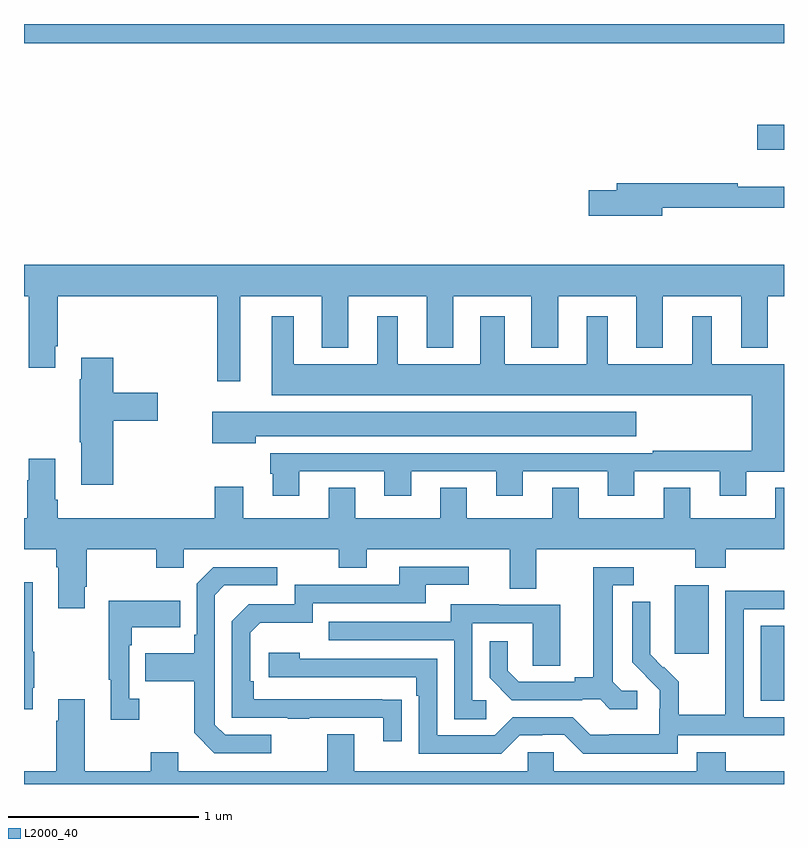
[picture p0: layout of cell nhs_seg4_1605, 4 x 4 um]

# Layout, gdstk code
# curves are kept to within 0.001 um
import gdstk
lib = gdstk.Library(unit=1e-6, precision=1e-09)
def R(c, l, rs):  # rectangles x0, y0, x1, y1
    for r in rs: c.add(gdstk.rectangle(r[:2], r[2:], *l))
def P(c, l, *ps):  # polygons
    for p in ps: c.add(gdstk.Polygon(p, *l))
L2000_40 = (2000, 40)

nhs_seg4_1605 = lib.new_cell('nhs_seg4_1605')
R(nhs_seg4_1605, L2000_40, [(196.877,813.337,197,813.734), (196.424,813.585,196.603,813.946), (196.86,816.239,197,816.369), (193,816.8,197,816.9)])
P(nhs_seg4_1605, L2000_40, [(196.36,815.934),(197,815.934),(197,816.044),(196.757,816.044),(196.757,816.062),(196.121,816.062),(196.121,816.026),(195.972,816.026),(195.972,815.891),(196.36,815.891)],
  [(194.137,815.468),(194.567,815.468),(194.567,815.195),(194.707,815.195),(194.707,815.468),(195.119,815.468),(195.119,815.195),(195.259,815.195),(195.259,815.468),(195.671,815.468),(195.671,815.195),(195.811,815.195),(195.811,815.468),(196.223,815.468),(196.223,815.195),(196.363,815.195),(196.363,815.468),(196.775,815.468),(196.775,815.195),(196.915,815.195),(196.915,815.468),(197,815.468),(197,815.632),(193,815.632),(193,815.468),(193.025,815.468),(193.025,815.091),(193.165,815.091),(193.165,815.203),(193.178,815.203),(193.178,815.468),(194.016,815.468),(194.016,815.019),(194.137,815.019)],
  [(194.449,814.545),(194.897,814.545),(194.897,814.416),(195.037,814.416),(195.037,814.545),(195.485,814.545),(195.485,814.416),(195.625,814.416),(195.625,814.545),(196.073,814.545),(196.073,814.416),(196.213,814.416),(196.213,814.545),(196.661,814.545),(196.661,814.416),(196.801,814.416),(196.801,814.544),(197,814.544),(197,815.11),(196.621,815.11),(196.621,815.362),(196.517,815.362),(196.517,815.11),(196.072,815.11),(196.072,815.362),(195.962,815.362),(195.962,815.11),(195.529,815.11),(195.529,815.362),(195.401,815.362),(195.401,815.11),(194.968,815.11),(194.968,815.362),(194.858,815.362),(194.858,815.11),(194.419,815.11),(194.419,815.362),(194.303,815.362),(194.303,814.946),(196.829,814.946),(196.829,814.654),(196.309,814.654),(196.309,814.641),(194.297,814.641),(194.297,814.533),(194.309,814.533),(194.309,814.416),(194.449,814.416)],
  [(193.469,814.811),(193.705,814.811),(193.705,814.958),(193.469,814.958),(193.469,815.143),(193.301,815.143),(193.301,815.03),(193.294,815.03),(193.294,814.699),(193.301,814.699),(193.301,814.476),(193.469,814.476)],
  [(194.221,814.73),(196.222,814.73),(196.222,814.858),(193.992,814.858),(193.992,814.694),(194.221,814.694)],
  [(193.321,813.937),(193.329,813.937),(193.329,814.136),(193.696,814.136),(193.696,814.037),(193.842,814.037),(193.842,814.136),(194.656,814.136),(194.656,814.037),(194.803,814.037),(194.803,814.136),(195.557,814.136),(195.557,813.928),(195.697,813.928),(195.697,814.136),(196.534,814.136),(196.534,814.037),(196.694,814.037),(196.694,814.136),(197,814.136),(197,814.459),(196.955,814.459),(196.955,814.3),(196.507,814.3),(196.507,814.46),(196.367,814.46),(196.367,814.3),(195.919,814.3),(195.919,814.46),(195.779,814.46),(195.779,814.3),(195.331,814.3),(195.331,814.46),(195.191,814.46),(195.191,814.3),(194.743,814.3),(194.743,814.46),(194.603,814.46),(194.603,814.3),(194.155,814.3),(194.155,814.465),(194.003,814.465),(194.003,814.3),(193.178,814.3),(193.178,814.396),(193.165,814.396),(193.165,814.612),(193.025,814.612),(193.025,814.499),(193.018,814.499),(193.018,814.3),(193,814.3),(193,814.136),(193.169,814.136),(193.169,814.04),(193.181,814.04),(193.181,813.825),(193.321,813.825)],
  [(194.987,813.344),(194.21,813.345),(194.21,813.442),(194.19,813.442),(194.19,813.696),(194.243,813.749),(194.52,813.749),(194.52,813.852),(195.115,813.852),(195.115,813.948),(195.34,813.948),(195.34,814.044),(194.975,814.044),(194.975,813.948),(194.424,813.948),(194.424,813.846),(194.184,813.846),(194.094,813.756),(194.094,813.249),(194.389,813.249),(194.389,813.244),(194.501,813.244),(194.501,813.249),(194.891,813.249),(194.891,813.126),(194.987,813.126)],
  [(196.228,813.39),(196.146,813.39),(196.099,813.437),(196.099,813.945),(196.21,813.945),(196.21,814.041),(195.995,814.041),(195.995,813.461),(195.899,813.461),(195.899,813.438),(195.604,813.438),(195.547,813.495),(195.547,813.652),(195.45,813.652),(195.45,813.458),(195.566,813.342),(195.938,813.342),(195.938,813.345),(196.032,813.345),(196.084,813.293),(196.228,813.293)],
  [(194.302,813.159),(194.058,813.159),(194.004,813.213),(194.004,813.894),(194.055,813.945),(194.332,813.945),(194.332,814.041),(193.995,814.041),(193.908,813.954),(193.908,813.685),(193.896,813.685),(193.896,813.589),(193.639,813.589),(193.639,813.442),(193.896,813.442),(193.896,813.169),(194.001,813.063),(194.302,813.063)],
  [(193.045,813.406),(193.053,813.406),(193.053,813.595),(193.045,813.595),(193.045,813.961),(193,813.961),(193,813.294),(193.045,813.294)],
  [(196.44,813.156),(197,813.156),(197,813.252),(196.788,813.252),(196.788,813.819),(197,813.819),(197,813.918),(196.692,813.918),(196.692,813.488),(196.69,813.488),(196.69,813.265),(196.445,813.265),(196.445,813.439),(196.368,813.516),(196.365,813.513),(196.295,813.584),(196.296,813.86),(196.2,813.86),(196.2,813.542),(196.346,813.394),(196.346,813.297),(196.344,813.297),(196.344,813.163),(196.081,813.163),(196.081,813.159),(195.981,813.159),(195.888,813.252),(195.573,813.252),(195.477,813.156),(195.174,813.156),(195.174,813.558),(194.45,813.558),(194.45,813.592),(194.289,813.592),(194.289,813.462),(195.065,813.462),(195.065,813.365),(195.078,813.365),(195.078,813.06),(195.513,813.06),(195.609,813.156),(195.728,813.156),(195.728,813.159),(195.843,813.159),(195.943,813.059),(196.44,813.059)],
  [(193.606,813.35),(193.554,813.35),(193.554,813.629),(193.567,813.629),(193.567,813.725),(193.823,813.725),(193.823,813.865),(193.446,813.865),(193.446,813.449),(193.457,813.449),(193.457,813.237),(193.606,813.237)],
  [(195.433,813.342),(195.36,813.342),(195.36,813.747),(195.678,813.747),(195.678,813.523),(195.823,813.523),(195.823,813.843),(195.499,813.843),(195.499,813.847),(195.245,813.847),(195.245,813.753),(194.605,813.753),(194.605,813.657),(195.264,813.657),(195.264,813.241),(195.433,813.241)],
  [(197,812.968),(196.694,812.968),(196.694,813.067),(196.541,813.067),(196.541,812.968),(195.789,812.968),(195.789,813.066),(195.651,813.066),(195.651,812.968),(194.737,812.968),(194.737,813.163),(194.597,813.163),(194.597,812.968),(193.813,812.968),(193.813,813.067),(193.666,813.067),(193.666,812.968),(193.321,812.968),(193.321,813.346),(193.181,813.346),(193.181,813.233),(193.169,813.233),(193.169,812.968),(193,812.968),(193,812.9),(197,812.9)])

lib.write_gds('nhs_seg4_1605.gds')
